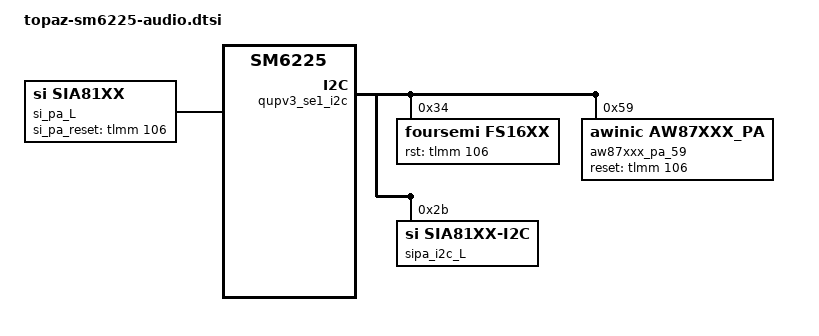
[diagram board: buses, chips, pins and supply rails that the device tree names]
#include "xiaomi-sm6225-common.dtsi"

&soc {
	si_pa_L: si_pa_L {
		owi_mode = <1>;
		channel_num = <0>;
		timer_task_hdl = <0>;
		si,si_pa_disable_pin = <1>;
		si,si_pa_reset = <&tlmm 106 0x00>;
		si,si_pa_type = "sia81x9";
		compatible = "si,sia81xx";
	};
};

&qupv3_se1_i2c {
	fs16xx@34 {
		status = "okay";
		compatible = "foursemi,fs16xx";
		reg = <0x34>;
		fsm,rst-gpio = <&tlmm 106 0x00>;
	};

	aw87xxx_pa_59@59 {
		status = "okay";
		compatible = "awinic,aw87xxx_pa";
		dev_index = <0>;
		aw-rx-port-id = <45106>;
		reset-gpio = <&tlmm 106 0x00>;
		reg = <0x59>;
	};

	sipa_i2c_L: sipa_i2c_L@2b {
		compatible = "si,sia81xx-i2c";
		si,sipa-dev = <&si_pa_L>;
		reg = <0x2b>;
	};
};

&bengal_snd {
    si,sia81xx-aux-devs-prefix = "SpkrMonoL";
    si,sia81xx-aux-devs = <&si_pa_L>;
    si,sia81xx-max-num = <1>;
};
